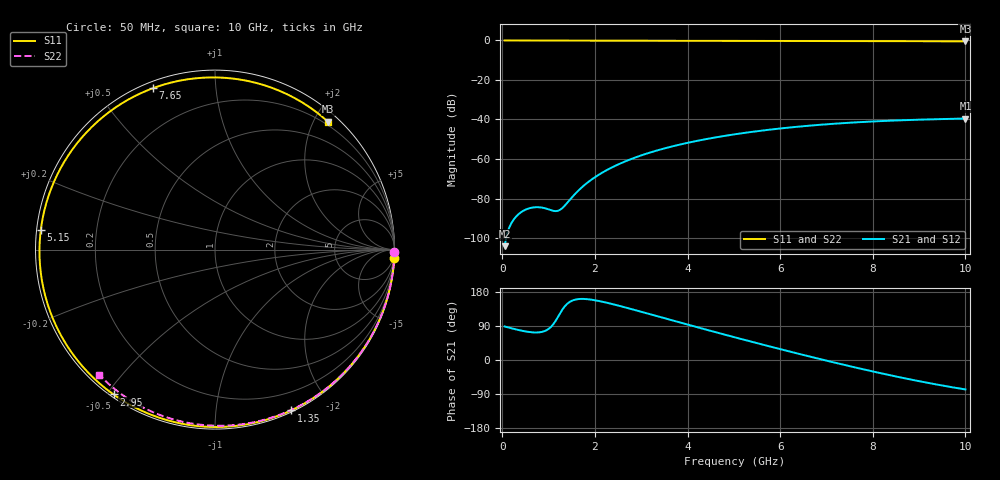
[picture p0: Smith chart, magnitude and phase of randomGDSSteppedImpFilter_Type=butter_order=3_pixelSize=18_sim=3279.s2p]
! freq	dB(S11)	phase(S11)	dB(S12)	phase(S12)
!  dB(S21)	phase(S21)	dB(S22)	phase(S22)
!S-par simulation data
#  GHz  S  DB  R 50
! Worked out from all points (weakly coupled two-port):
!   200 points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, 50 MHz to 10 GHz, reference 50 ohm
!   highest |S21| = -39.51 dB at 10 GHz (marker M1); lowest = -104.1 dB at 50 MHz (marker M2)
!   lowest |S11| = -0.4 dB at 10 GHz (marker M3), VSWR 39.57, Z = 7.43 + j110 ohm
!   |S11| at or under -10 dB: nowhere
!   |S22| runs from -0.4 to 0.0 dB; largest |S21 - S12| = 0
!   S11 on the Smith chart (normalised r, x): 50 MHz: 0, -45; 1.35 GHz: 0.02, -1.58; 2.95 GHz: 0.01, -0.52; 5.15 GHz: 0.01, +0.06; 7.65 GHz: 0.03, +0.69; 10 GHz: 0.15, +2.20
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0.05  -0.00 -2.5  -104.12 88.5  -104.12 88.5  -0.00 -0.8
0.35  -0.03 -17.6  -87.95 79.2  -87.95 79.2  -0.01 -5.4
0.65  -0.04 -32.3  -84.58 73.0  -84.58 73.0  -0.01 -9.9
1  -0.06 -49.0  -85.50 82.0  -85.50 82.0  -0.02 -15.2
1.35  -0.08 -64.7  -83.57 141.7  -83.57 141.7  -0.03 -20.5
1.5  -0.08 -71.2  -79.52 156.2  -79.52 156.2  -0.03 -22.8
1.75  -0.09 -81.6  -73.68 161.2  -73.68 161.2  -0.03 -26.5
2  -0.10 -91.5  -69.23 157.7  -69.23 157.7  -0.04 -30.2
2.25  -0.11 -100.9  -65.70 151.3  -65.70 151.3  -0.04 -33.9
2.6  -0.12 -113.4  -61.75 140.6  -61.75 140.6  -0.05 -39.0
2.95  -0.13 -125.0  -58.58 129.0  -58.58 129.0  -0.06 -44.0
3.4  -0.14 -139.0  -55.29 113.8  -55.29 113.8  -0.07 -50.4
3.8  -0.15 -150.7  -52.88 100.2  -52.88 100.2  -0.08 -56.0
4.2  -0.17 -161.7  -50.84 86.8  -50.84 86.8  -0.09 -61.5
5.05  -0.20 176.0  -47.39 58.9  -47.39 58.9  -0.11 -73.0
5.15  -0.20 173.5  -47.05 55.7  -47.05 55.7  -0.11 -74.3
5.9  -0.24 154.8  -44.82 31.8  -44.82 31.8  -0.14 -84.0
6.7  -0.28 135.0  -42.99 7.3  -42.99 7.3  -0.18 -94.0
7.65  -0.32 111.1  -41.43 -20.5  -41.43 -20.5  -0.24 -105.5
8.35  -0.36 93.0  -40.64 -39.6  -40.64 -39.6  -0.29 -113.8
9.15  -0.39 71.7  -40.00 -59.4  -40.00 -59.4  -0.36 -123.1
10  -0.44 48.6  -39.51 -77.7  -39.51 -77.7  -0.45 -132.8
